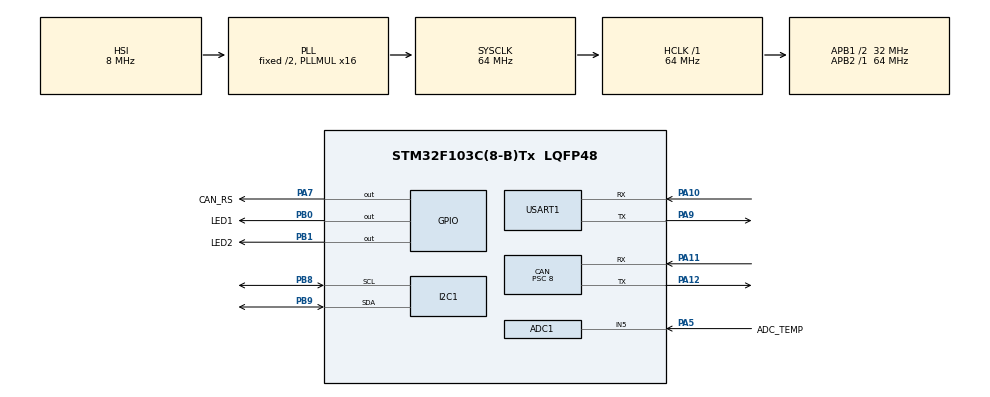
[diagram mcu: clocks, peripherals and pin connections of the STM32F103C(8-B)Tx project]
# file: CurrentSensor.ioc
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ADC1.Channel-0\#ChannelRegularConversion=ADC_CHANNEL_5
ADC1.NbrOfConversionFlag=1
ADC1.Rank-0\#ChannelRegularConversion=1
ADC1.SamplingTime-0\#ChannelRegularConversion=ADC_SAMPLETIME_1CYCLE_5
ADC1.master=1
CAN.BS1=CAN_BS1_13TQ
CAN.BS2=CAN_BS2_2TQ
CAN.CalculateBaudRate=250000
CAN.CalculateTimeBit=4000.00
CAN.CalculateTimeQuantum=250.0
CAN.Prescaler=8
Mcu.Family=STM32F1
Mcu.Name=STM32F103C(8-B)Tx
Mcu.Package=LQFP48
NVIC.CAN1_RX1_IRQn=true\:0\:0\:false\:false\:true\:true\:true
NVIC.PriorityGroup=NVIC_PRIORITYGROUP_4
NVIC.USB_HP_CAN1_TX_IRQn=true\:0\:0\:false\:false\:true\:true\:true
NVIC.USB_LP_CAN1_RX0_IRQn=true\:0\:0\:false\:false\:true\:true\:true
PA10.Mode=Asynchronous
PA10.Signal=USART1_RX
PA11.Mode=CAN_Activate
PA11.Signal=CAN_RX
PA12.Mode=CAN_Activate
PA12.Signal=CAN_TX
PA13.Mode=Serial_Wire
PA13.Signal=SYS_JTMS-SWDIO
PA14.Mode=Serial_Wire
PA14.Signal=SYS_JTCK-SWCLK
PA5.GPIO_Label=ADC_TEMP
PA5.Signal=SharedAnalog_PA5
PA7.GPIO_Label=CAN_RS
PA7.Signal=GPIO_Output
PA9.Mode=Asynchronous
PA9.Signal=USART1_TX
PB0.GPIO_Label=LED1
PB0.Signal=GPIO_Output
PB1.GPIO_Label=LED2
PB1.Signal=GPIO_Output
PB8.Mode=I2C
PB8.Signal=I2C1_SCL
PB9.Mode=I2C
PB9.Signal=I2C1_SDA
ProjectManager.HeapSize=0x200
ProjectManager.StackSize=0x400
ProjectManager.TargetToolchain=STM32CubeIDE
RCC.ADCPresc=RCC_ADCPCLK2_DIV8
RCC.AHBFreq_Value=64000000
RCC.APB1CLKDivider=RCC_HCLK_DIV2
RCC.APB1Freq_Value=32000000
RCC.APB1TimFreq_Value=64000000
RCC.APB2Freq_Value=64000000
RCC.APB2TimFreq_Value=64000000
RCC.HCLKFreq_Value=64000000
RCC.PLLMUL=RCC_PLL_MUL16
RCC.SYSCLKFreq_VALUE=64000000
RCC.SYSCLKSource=RCC_SYSCLKSOURCE_PLLCLK
RCC.USBFreq_Value=64000000
SH.SharedAnalog_PA5.0=GPIO_Analog
SH.SharedAnalog_PA5.1=ADC1_IN5,IN5
USART1.VirtualMode=VM_ASYNC
board=custom

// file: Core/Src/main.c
/* USER CODE BEGIN Header */
/**
 ******************************************************************************
 * @file           : main.c
 * @brief          : Main program body
 ******************************************************************************
 * @attention
 *
 * <h2><center>&copy; Copyright (c) 2020 STMicroelectronics.
 * All rights reserved.</center></h2>
 *
 * This software component is licensed by ST under BSD 3-Clause license,
 * the "License"; You may not use this file except in compliance with the
 * License. You may obtain a copy of the License at:
 *                        opensource.org/licenses/BSD-3-Clause
 *
 ******************************************************************************
 */
/* USER CODE END Header */
#include "main.h"
#include "adc.h"
#include "can.h"
#include "i2c.h"
#include "usart.h"
#include "gpio.h"

/* USER CODE BEGIN Includes */
#include <stdio.h>
#include <string.h>
#include <math.h>

#include "LTC2485.h"
/* USER CODE END Includes */

/* USER CODE BEGIN PD */

// for debuging
int32_t current;

/* USER CODE END PD */

void SystemClock_Config(void);

int main(void)
{

  /* MCU Configuration--------------------------------------------------------*/

  /* Reset of all peripherals, Initializes the Flash interface and the Systick. */
  HAL_Init();

  /* Configure the system clock */
  SystemClock_Config();

  /* Initialize all configured peripherals */
  MX_GPIO_Init();
  MX_ADC1_Init();
  MX_CAN_Init();
  MX_I2C1_Init();
  MX_USART1_UART_Init();
  /* USER CODE BEGIN 2 */

	LTC_init();

	// set RS pin on CAN transiver
	HAL_GPIO_WritePin(CAN_RS_GPIO_Port, CAN_RS_Pin, GPIO_PIN_RESET);

	CanConfigFilter(hcan, 1, 0x0000, 0x0000, 0x0000, 0x0000);
	CanInit(hcan);

  /* USER CODE END 2 */

  /* Infinite loop */
  /* USER CODE BEGIN WHILE */
	while (1)
	{
		HAL_GPIO_TogglePin(LED1_GPIO_Port, LED1_Pin);

		current = LTC_get_Current();

		char data_to_send[20];
		for(int i=0;i<20;i++)data_to_send[i] = 0;

		sprintf((char*)data_to_send, "%d \n", (int32_t)current );
		HAL_UART_Transmit(&huart1,&data_to_send, strlen(data_to_send),HAL_MAX_DELAY);

		CAN_SEND_CURRENT(hcan,(int32_t)current);

		HAL_Delay(160);

    /* USER CODE END WHILE */

	}
}

void SystemClock_Config(void)
{
  RCC_OscInitTypeDef RCC_OscInitStruct = {0};
  RCC_ClkInitTypeDef RCC_ClkInitStruct = {0};
  RCC_PeriphCLKInitTypeDef PeriphClkInit = {0};

  /** Initializes the RCC Oscillators according to the specified parameters
  * in the RCC_OscInitTypeDef structure.
  */
  RCC_OscInitStruct.OscillatorType = RCC_OSCILLATORTYPE_HSI;
  RCC_OscInitStruct.HSIState = RCC_HSI_ON;
  RCC_OscInitStruct.HSICalibrationValue = RCC_HSICALIBRATION_DEFAULT;
  RCC_OscInitStruct.PLL.PLLState = RCC_PLL_ON;
  RCC_OscInitStruct.PLL.PLLSource = RCC_PLLSOURCE_HSI_DIV2;
  RCC_OscInitStruct.PLL.PLLMUL = RCC_PLL_MUL16;
  if (HAL_RCC_OscConfig(&RCC_OscInitStruct) != HAL_OK)
  {
    Error_Handler();
  }
  /** Initializes the CPU, AHB and APB buses clocks
  */
  RCC_ClkInitStruct.ClockType = RCC_CLOCKTYPE_HCLK|RCC_CLOCKTYPE_SYSCLK
                              |RCC_CLOCKTYPE_PCLK1|RCC_CLOCKTYPE_PCLK2;
  RCC_ClkInitStruct.SYSCLKSource = RCC_SYSCLKSOURCE_PLLCLK;
  RCC_ClkInitStruct.AHBCLKDivider = RCC_SYSCLK_DIV1;
  RCC_ClkInitStruct.APB1CLKDivider = RCC_HCLK_DIV2;
  RCC_ClkInitStruct.APB2CLKDivider = RCC_HCLK_DIV1;

  if (HAL_RCC_ClockConfig(&RCC_ClkInitStruct, FLASH_LATENCY_2) != HAL_OK)
  {
    Error_Handler();
  }
  PeriphClkInit.PeriphClockSelection = RCC_PERIPHCLK_ADC;
  PeriphClkInit.AdcClockSelection = RCC_ADCPCLK2_DIV8;
  if (HAL_RCCEx_PeriphCLKConfig(&PeriphClkInit) != HAL_OK)
  {
    Error_Handler();
  }
}

void Error_Handler(void)
{
}

/************************ (C) COPYRIGHT STMicroelectronics *****END OF FILE****/
